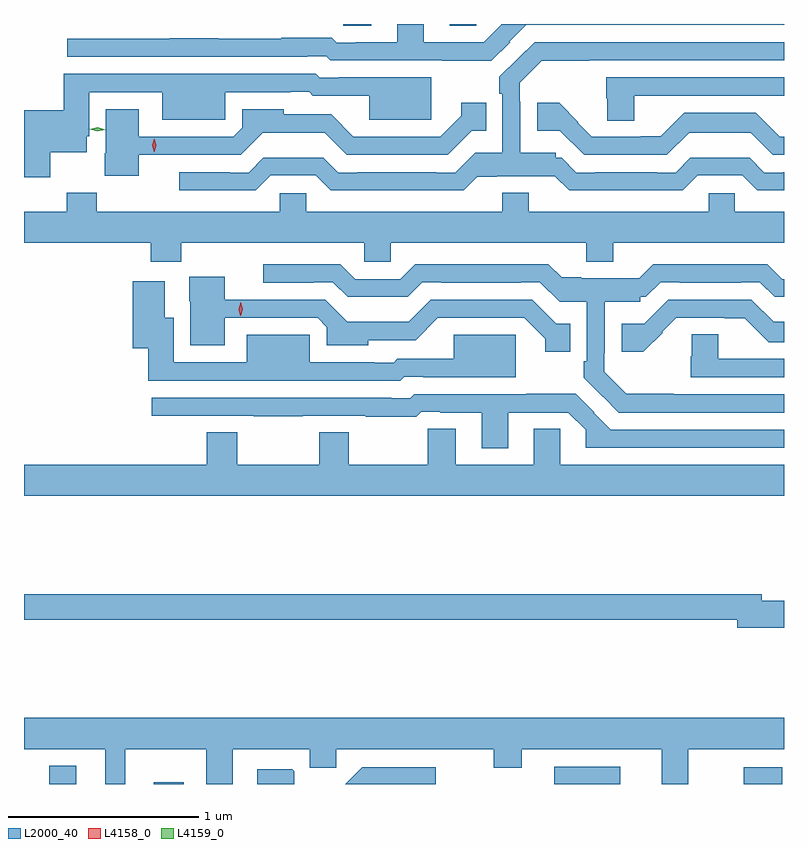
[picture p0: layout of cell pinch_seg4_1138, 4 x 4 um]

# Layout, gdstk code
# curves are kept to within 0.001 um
import gdstk
lib = gdstk.Library(unit=1e-6, precision=1e-09)
def R(c, l, rs):  # rectangles x0, y0, x1, y1
    for r in rs: c.add(gdstk.rectangle(r[:2], r[2:], *l))
def P(c, l, *ps):  # polygons
    for p in ps: c.add(gdstk.Polygon(p, *l))
L2000_40 = (2000, 40)
L4158_0 = (4158, 0)
L4159_0 = (4159, 0)

pinch_seg4_1138 = lib.new_cell('pinch_seg4_1138')
R(pinch_seg4_1138, L2000_40, [(442.109,758.008,442.249,758.104), (442.658,758.008,442.816,758.017), (444.767,758.008,445.114,758.1), (445.763,758.008,445.966,758.097), (443.656,761.998,443.803,762.008), (444.215,761.998,444.354,762.008)])
P(pinch_seg4_1138, L2000_40, [(444.533,761.912),(444.53,761.915),(444.618,762.003),(445.975,762.003),(445.975,762.008),(444.487,762.008),(444.487,762.004),(444.396,761.913),(444.079,761.913),(444.079,762.008),(443.939,762.008),(443.939,761.913),(443.722,761.913),(443.722,761.91),(443.622,761.91),(443.596,761.936),(443.329,761.936),(443.329,761.931),(442.997,761.931),(442.997,761.934),(442.741,761.934),(442.741,761.931),(442.203,761.931),(442.203,761.835),(443.465,761.835),(443.465,761.838),(443.565,761.838),(443.586,761.817),(444.175,761.817),(444.175,761.815),(444.435,761.815)],
  [(443.274,761.211),(443.511,761.211),(443.59,761.132),(444.29,761.132),(444.36,761.203),(444.463,761.203),(444.463,761.207),(444.769,761.207),(444.844,761.132),(445.442,761.132),(445.521,761.211),(445.755,761.211),(445.834,761.132),(445.975,761.132),(445.975,761.229),(445.972,761.229),(445.972,761.226),(445.872,761.226),(445.794,761.304),(445.482,761.304),(445.404,761.226),(445.304,761.226),(445.304,761.229),(444.982,761.229),(444.982,761.226),(444.882,761.226),(444.804,761.304),(444.774,761.304),(444.774,761.331),(444.588,761.331),(444.588,761.6),(444.585,761.6),(444.585,761.699),(444.701,761.815),(444.95,761.815),(444.95,761.817),(445.975,761.817),(445.975,761.913),(444.662,761.913),(444.477,761.73),(444.477,761.642),(444.492,761.642),(444.492,761.331),(444.351,761.331),(444.246,761.226),(444.146,761.226),(444.146,761.229),(443.728,761.229),(443.728,761.226),(443.628,761.226),(443.55,761.304),(443.235,761.304),(443.157,761.226),(443.057,761.226),(443.057,761.229),(442.791,761.229),(442.791,761.132),(443.195,761.132)],
  [(442.114,761.333),(442.306,761.333),(442.306,761.418),(442.318,761.418),(442.318,761.649),(442.703,761.649),(442.703,761.504),(443.034,761.504),(443.034,761.649),(443.375,761.649),(443.375,761.651),(443.476,761.651),(443.496,761.631),(443.792,761.631),(443.792,761.504),(444.118,761.504),(444.118,761.728),(443.632,761.727),(443.632,761.724),(443.532,761.724),(443.511,761.745),(442.184,761.745),(442.184,761.554),(441.975,761.554),(441.975,761.202),(442.114,761.202)],
  [(445.186,761.631),(445.975,761.631),(445.975,761.727),(445.039,761.727),(445.039,761.616),(445.046,761.616),(445.046,761.5),(445.186,761.5)],
  [(445.476,761.436),(445.8,761.436),(445.917,761.319),(445.975,761.319),(445.975,761.415),(445.953,761.415),(445.826,761.542),(445.45,761.542),(445.325,761.417),(445.22,761.417),(445.22,761.415),(444.963,761.415),(444.889,761.489),(444.892,761.492),(444.791,761.593),(444.677,761.593),(444.677,761.447),(444.795,761.447),(444.923,761.319),(445.359,761.319)],
  [(442.579,761.319),(443.116,761.319),(443.232,761.435),(443.557,761.435),(443.673,761.319),(444.205,761.319),(444.331,761.445),(444.407,761.445),(444.407,761.593),(444.275,761.593),(444.275,761.525),(444.165,761.415),(443.709,761.415),(443.592,761.532),(443.343,761.532),(443.343,761.56),(443.124,761.56),(443.124,761.463),(443.076,761.415),(442.579,761.415),(442.579,761.56),(442.406,761.56),(442.406,761.328),(442.4,761.328),(442.4,761.21),(442.579,761.21)],
  [(442.803,760.856),(443.766,760.856),(443.766,760.758),(443.904,760.758),(443.904,760.856),(444.935,760.856),(444.935,760.757),(445.075,760.757),(445.075,760.856),(445.975,760.856),(445.975,761.02),(445.716,761.02),(445.716,761.118),(445.578,761.118),(445.578,761.02),(444.631,761.02),(444.631,761.119),(444.491,761.119),(444.491,761.02),(443.46,761.02),(443.46,761.118),(443.322,761.118),(443.322,761.02),(442.359,761.02),(442.359,761.119),(442.199,761.119),(442.199,761.02),(441.975,761.02),(441.975,760.856),(442.643,760.856),(442.643,760.757),(442.803,760.757)],
  [(445.975,760.059),(445.394,760.059),(445.394,760.061),(445.145,760.061),(445.029,760.177),(445.029,760.276),(445.032,760.276),(445.032,760.545),(445.218,760.545),(445.218,760.572),(445.248,760.572),(445.326,760.65),(445.426,760.65),(445.426,760.647),(445.748,760.647),(445.748,760.65),(445.848,760.65),(445.926,760.572),(445.975,760.572),(445.975,760.665),(445.965,760.665),(445.886,760.744),(445.288,760.744),(445.213,760.669),(444.907,760.669),(444.907,760.674),(444.804,760.674),(444.734,760.744),(444.034,760.744),(443.955,760.665),(443.718,760.665),(443.639,760.744),(443.235,760.744),(443.235,760.647),(443.501,760.647),(443.501,760.65),(443.601,760.65),(443.679,760.572),(443.994,760.572),(444.072,760.65),(444.172,760.65),(444.172,760.647),(444.59,760.647),(444.59,760.65),(444.69,760.65),(444.795,760.545),(444.936,760.545),(444.936,760.234),(444.921,760.234),(444.921,760.146),(445.106,759.963),(445.975,759.963)],
  [(444.851,760.431),(444.775,760.431),(444.649,760.557),(444.117,760.557),(444.001,760.441),(443.676,760.441),(443.56,760.557),(443.032,760.557),(443.032,760.678),(442.844,760.678),(442.844,760.548),(442.85,760.548),(442.85,760.316),(443.032,760.316),(443.032,760.461),(443.52,760.461),(443.568,760.413),(443.568,760.316),(443.787,760.316),(443.787,760.344),(444.036,760.344),(444.153,760.461),(444.609,760.461),(444.719,760.351),(444.719,760.284),(444.851,760.284)],
  [(443.976,760.152),(444.076,760.152),(444.076,760.149),(444.562,760.148),(444.562,760.372),(444.236,760.372),(444.236,760.245),(443.94,760.245),(443.92,760.225),(443.819,760.225),(443.819,760.227),(443.478,760.227),(443.478,760.372),(443.147,760.372),(443.147,760.227),(442.762,760.227),(442.762,760.462),(442.717,760.462),(442.717,760.654),(442.547,760.654),(442.547,760.301),(442.628,760.301),(442.628,760.131),(443.955,760.131)],
  [(445.336,760.384),(445.333,760.387),(445.407,760.461),(445.769,760.46),(445.894,760.334),(445.975,760.334),(445.975,760.44),(445.92,760.44),(445.803,760.557),(445.367,760.557),(445.239,760.43),(445.121,760.43),(445.121,760.284),(445.235,760.284)],
  [(445.975,760.245),(445.63,760.245),(445.63,760.376),(445.49,760.376),(445.49,760.26),(445.483,760.26),(445.483,760.149),(445.975,760.149)],
  [(444.523,759.963),(444.84,759.963),(444.931,759.873),(444.931,759.777),(445.975,759.777),(445.975,759.873),(445.062,759.873),(444.974,759.961),(444.977,759.964),(444.879,760.062),(444.619,760.062),(444.619,760.059),(444.03,760.059),(444.009,760.038),(443.909,760.038),(443.909,760.041),(442.647,760.041),(442.647,759.945),(443.185,759.945),(443.185,759.943),(443.441,759.943),(443.441,759.945),(443.773,759.945),(443.773,759.94),(444.04,759.94),(444.066,759.966),(444.166,759.966),(444.166,759.963),(444.383,759.963),(444.383,759.774),(444.523,759.774)],
  [(445.975,759.688),(444.798,759.688),(444.798,759.878),(444.659,759.878),(444.659,759.688),(444.247,759.688),(444.247,759.878),(444.1,759.878),(444.1,759.688),(443.685,759.688),(443.685,759.86),(443.53,759.86),(443.53,759.688),(443.097,759.688),(443.097,759.86),(442.937,759.86),(442.937,759.688),(441.975,759.688),(441.975,759.524),(445.975,759.524)],
  [(445.975,758.972),(445.858,758.972),(445.858,759.008),(441.975,759.008),(441.975,758.872),(445.73,758.872),(445.73,758.83),(445.975,758.83)],
  [(442.507,758.192),(442.934,758.192),(442.934,758.008),(443.074,758.008),(443.074,758.192),(443.48,758.192),(443.48,758.094),(443.619,758.094),(443.619,758.192),(444.448,758.192),(444.448,758.093),(444.595,758.093),(444.595,758.192),(445.331,758.192),(445.331,758.008),(445.471,758.008),(445.471,758.192),(445.975,758.192),(445.975,758.356),(441.975,758.356),(441.975,758.192),(442.403,758.192),(442.403,758.008),(442.507,758.008)],
  [(444.142,758.097),(443.754,758.097),(443.665,758.008),(444.142,758.008)],
  [(443.398,758.075),(443.388,758.085),(443.202,758.085),(443.202,758.008),(443.398,758.008)])
P(pinch_seg4_1138, L4158_0, [(443.114,760.472),(443.114,760.472),(443.105,760.507),(443.115,760.543),(443.115,760.543),(443.116,760.543),(443.125,760.507),(443.115,760.472)],
  [(442.66,761.333),(442.66,761.334),(442.65,761.369),(442.66,761.404),(442.66,761.404),(442.66,761.404),(442.67,761.369),(442.66,761.334)])
P(pinch_seg4_1138, L4159_0, [(442.361,761.444),(442.321,761.455),(442.321,761.455),(442.321,761.455),(442.362,761.464),(442.402,761.452),(442.402,761.452),(442.402,761.452)])

lib.write_gds('pinch_seg4_1138.gds')
